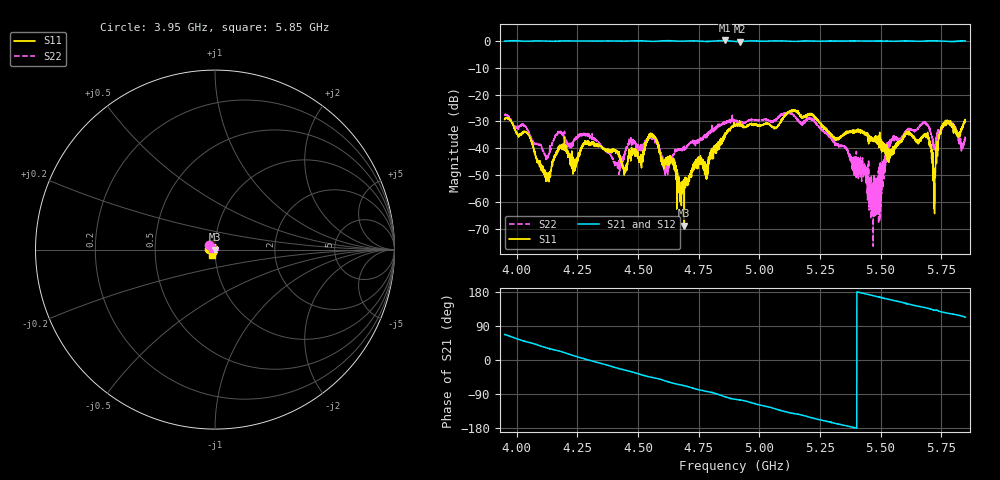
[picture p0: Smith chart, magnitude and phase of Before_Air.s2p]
# GHZ S RI R 50.000000000000
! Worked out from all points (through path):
!   4501 points, 3.95 GHz to 5.85 GHz, reference 50 ohm
!   highest |S21| = 0.11 dB at 4.859 GHz (marker M1); lowest = -0.3 dB at 4.92 GHz (marker M2)
!   group delay of S21, straight-line fit = 453 ps
!   lowest |S11| = -68.7 dB at 4.691 GHz (marker M3), VSWR 1.00, Z = 50 - j0.00663 ohm
!   |S11| at or under -10 dB: start of sweep to end of sweep
!   |S22| runs from -76.4 to -26.6 dB; largest |S21 - S12| = 0.053
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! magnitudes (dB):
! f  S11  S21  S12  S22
! 3.95 GHz  -29.3  -0.2  -0.2  -27.9
! 4.047 GHz  -34.6  -0.2  -0.2  -33.4
! 4.126 GHz  -51.1  -0.1  -0.1  -43.9
! 4.178 GHz  -38.7  -0.1  -0.1  -33.8
! 4.237 GHz  -45.7  -0.1  -0.1  -36.8
! 4.267 GHz  -39.7  -0.1  -0.1  -34.8
! 4.418 GHz  -41.9  -0.1  -0.1  -46.9
! 4.446 GHz  -48.3  -0.1  -0.1  -42.0
! 4.471 GHz  -42.2  -0.1  -0.1  -37.9
! 4.584 GHz  -39.8  -0.1  -0.2  -39.8
! 4.616 GHz  -45.6  0.0  0.0  -48.4
! 4.691 GHz  -68.7  -0.2  -0.1  -38.8
! 4.859 GHz  -35.6  0.1  0.1  -30.3
! 4.9 GHz  -31.6  -0.2  -0.2  -29.8
! 4.92 GHz  -31.6  -0.3  -0.3  -30.4
! 5.217 GHz  -27.2  -0.1  -0.1  -29.0
! 5.478 GHz  -37.4  -0.1  -0.1  -53.9
! 5.534 GHz  -41.6  -0.2  -0.1  -39.3
! 5.687 GHz  -34.5  -0.1  -0.1  -30.4
! 5.722 GHz  -53.0  0.0  0.0  -40.6
! 5.758 GHz  -31.7  -0.2  -0.2  -31.4
! 5.85 GHz  -29.5  0.0  0.0  -36.5
